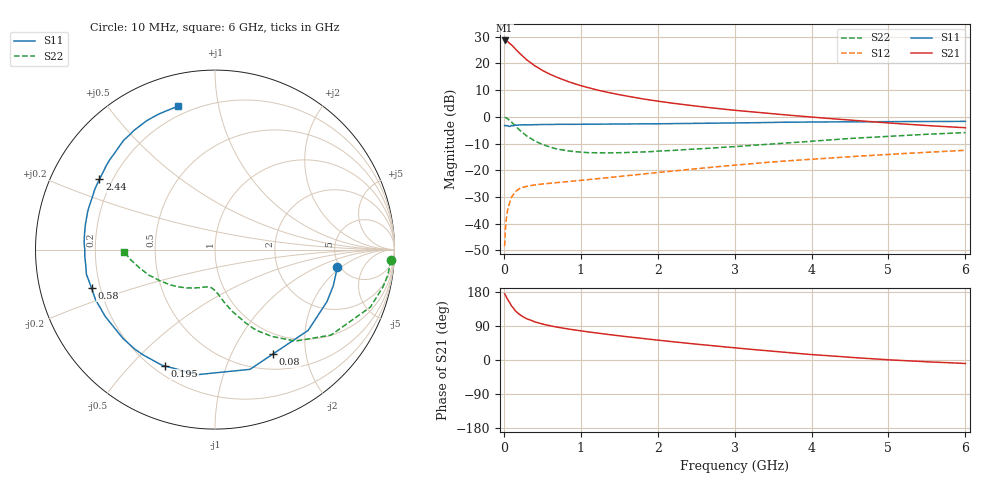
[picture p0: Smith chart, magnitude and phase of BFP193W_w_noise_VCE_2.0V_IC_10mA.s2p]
! Infineon Technologies  Discrete & RF Semiconductors
! BFP193W
! VCE = 2.0 V,  IC =  10 mA
! Common Emitter S-Parameters:  Jan 2016
# GHz  S  MA  R  50
!  f  S11  S21  S12  S22
! GHz  MAG  ANG  MAG  ANG  MAG  ANG  MAG  ANG
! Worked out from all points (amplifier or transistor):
!   210 points, 10 MHz to 6 GHz, reference 50 ohm
!   highest |S21| = 28.6 dB at 10 MHz (marker M1)
!   |S21| within 3 dB of that: start of sweep to 144.6 MHz
!   unconditionally stable (mu >= 1): 1.264 GHz to 4.353 GHz
!   at 185 MHz: K = 0.22, MSG = 25.8 dB, |S12| = -27.2 dB
!   at 1.52 GHz: K = 1.08, MAG = 13.5 dB, |S12| = -22.2 dB
!   at 6 GHz: K = 0.93, MSG = 4.2 dB, |S12| = -12.5 dB
!   lowest NFmin = 1.30 dB at 450 MHz
!   S11 on the Smith chart (normalised r, x): 10 MHz: 4.72, -1.78; 80 MHz: 0.70, -1.46; 195 MHz: 0.24, -0.63; 580 MHz: 0.17, -0.15; 2.44 GHz: 0.15, +0.27; 6 GHz: 0.15, +0.77
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0.01  0.6884 -8.3  27 174.9  0.0038 87.2  0.9824 -3.4
0.02  0.6892 -16.9  26.95 171.6  0.0077 81.6  0.9728 -8.5
0.03  0.688 -24.9  26.69 167.5  0.0116 79.1  0.959 -12.5
0.05  0.6871 -40.9  25.7 159.4  0.0183 71.6  0.9232 -20.3
0.08  0.665 -60.8  23.41 149.9  0.0259 61.5  0.8426 -29.4
0.1  0.6951 -73.7  22.3 142.6  0.0313 57.6  0.8026 -36.4
0.15  0.7034 -98.0  18.79 129.6  0.0399 47.4  0.6787 -48.7
0.195  0.7055 -113.2  16.05 121.6  0.0446 41.8  0.5852 -56.0
0.24  0.7104 -124.5  13.94 115.3  0.0477 37.8  0.514 -62.0
0.3  0.7128 -136.0  11.61 108.6  0.0504 34.4  0.4358 -67.8
0.4  0.7162 -148.7  9.099 100.7  0.0532 31.5  0.3552 -74.6
0.5  0.7216 -157.4  7.446 94.8  0.0555 30.7  0.3052 -79.3
0.58  0.7207 -162.6  6.505 91.3  0.0569 30.8  0.2783 -82.3
0.8  0.7252 -173.3  4.772 82.9  0.061 32.5  0.2352 -88.5
1.02  0.7261 179.4  3.776 76.4  0.0652 34.7  0.2177 -93.7
1.4  0.735 169.6  2.784 66.3  0.0741 38.9  0.2125 -101.1
2.02  0.7439 156.5  1.955 52.0  0.0916 43.9  0.2296 -112.3
2.44  0.7533 148.7  1.629 43.1  0.1051 45.3  0.2485 -120.1
3.1  0.7733 137.7  1.291 30.4  0.1285 45.5  0.2845 -132.7
4.1  0.8041 122.9  0.966 13.0  0.1655 42.5  0.3584 -152.0
5.1  0.8177 111.9  0.753 -0.5  0.2023 37.7  0.4419 -168.1
6  0.8249 104.3  0.627 -9.2  0.237 33.0  0.5081 -178.8
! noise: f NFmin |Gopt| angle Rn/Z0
0.45  1.3  0.22  143  0.11
0.9  1.3  0.34  160  0.11
1.8  2.05  0.54  -153  0.14
